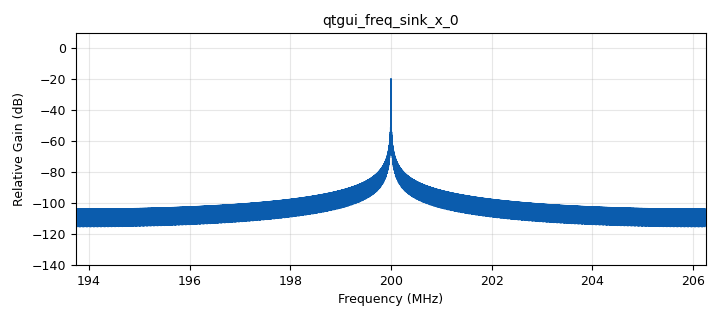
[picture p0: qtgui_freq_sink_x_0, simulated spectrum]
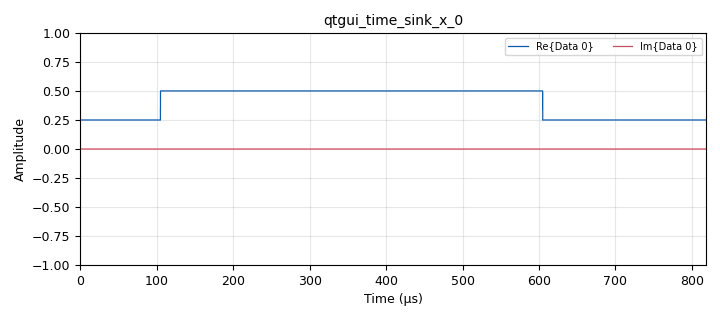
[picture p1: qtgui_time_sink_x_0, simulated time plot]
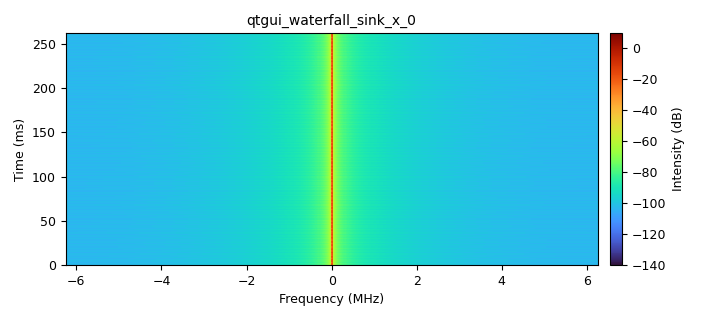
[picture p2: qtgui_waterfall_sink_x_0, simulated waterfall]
options:
  parameters:
    author: 'apellidos '
    copyright: UIS
    generate_options: qt_gui
    id: E1CG2Mision1
    output_language: python
    title: E1CG2 Mision 1
  states: {}

blocks:
- name: Ac
  id: variable_qtgui_range
  parameters:
    label: Amplitud Portadora
    start: '0'
    step: '0.01'
    stop: '0.5'
    value: '0.25'
  states: {}
- name: GTX
  id: variable_qtgui_range
  parameters:
    start: '0'
    step: '1'
    stop: '30'
    value: '0'
  states: {}
- name: am
  id: variable_qtgui_range
  parameters:
    label: Amplitud mensaje
    start: '0'
    step: '0.01'
    stop: '1'
    value: '1'
  states: {}
- name: fc
  id: variable_qtgui_range
  parameters:
    label: frecuencia centro MHz
    start: '50'
    step: '1'
    stop: '2220'
    value: '200'
  states: {}
- name: fm
  id: variable_qtgui_range
  parameters:
    label: Frecuencia mensaje
    start: '100'
    step: '0.01'
    stop: '20000'
    value: '1000'
  states: {}
- name: ka
  id: variable_qtgui_range
  parameters:
    label: coeficiente ka
    start: '0'
    step: '0.01'
    stop: '3'
    value: '1'
  states: {}
- name: samp_rate
  id: variable
  parameters:
    value: '12500000'
  states: {}
- name: analog_sig_source_x_0
  id: analog_sig_source_x
  parameters:
    amp: am
    freq: fm
    offset: '0'
    phase: '0'
    samp_rate: samp_rate
    type: float
    waveform: analog.GR_SQR_WAVE
  states: {}
- name: blocks_add_const_vxx_0
  id: blocks_add_const_vxx
  parameters:
    const: '1'
    type: float
  states: {}
- name: blocks_float_to_complex_0
  id: blocks_float_to_complex
  parameters: {}
  states: {}
- name: blocks_multiply_const_vxx_0
  id: blocks_multiply_const_vxx
  parameters:
    const: ka
    type: float
  states: {}
- name: blocks_multiply_const_vxx_1
  id: blocks_multiply_const_vxx
  parameters:
    const: Ac
    type: complex
  states: {}
- name: qtgui_freq_sink_x_0
  id: qtgui_freq_sink_x
  parameters:
    bw: samp_rate
    fc: fc*1e6
    fftsize: '16384'
    grid: 'True'
    type: complex
  states: {}
- name: qtgui_time_sink_x_0
  id: qtgui_time_sink_x
  parameters:
    size: '10240'
    srate: samp_rate
    type: complex
  states: {}
- name: qtgui_waterfall_sink_x_0
  id: qtgui_waterfall_sink_x
  parameters:
    bw: samp_rate
    fc: '50'
    fftsize: '16384'
    grid: 'True'
    type: complex
  states: {}
- name: uhd_usrp_sink_0
  id: uhd_usrp_sink
  parameters:
    ant0: '"TX/RX"'
    center_freq0: fc*1e6
    gain0: GTX
    samp_rate: samp_rate
    sync: pc_clock
    type: fc32
  states: {}

connections:
- [analog_sig_source_x_0, '0', blocks_multiply_const_vxx_0, '0']
- [blocks_add_const_vxx_0, '0', blocks_float_to_complex_0, '0']
- [blocks_float_to_complex_0, '0', blocks_multiply_const_vxx_1, '0']
- [blocks_multiply_const_vxx_0, '0', blocks_add_const_vxx_0, '0']
- [blocks_multiply_const_vxx_1, '0', qtgui_freq_sink_x_0, '0']
- [blocks_multiply_const_vxx_1, '0', qtgui_time_sink_x_0, '0']
- [blocks_multiply_const_vxx_1, '0', qtgui_waterfall_sink_x_0, '0']
- [blocks_multiply_const_vxx_1, '0', uhd_usrp_sink_0, '0']

metadata:
  file_format: 1
  grc_version: v3.10.11.0-89-ga17f69e7
